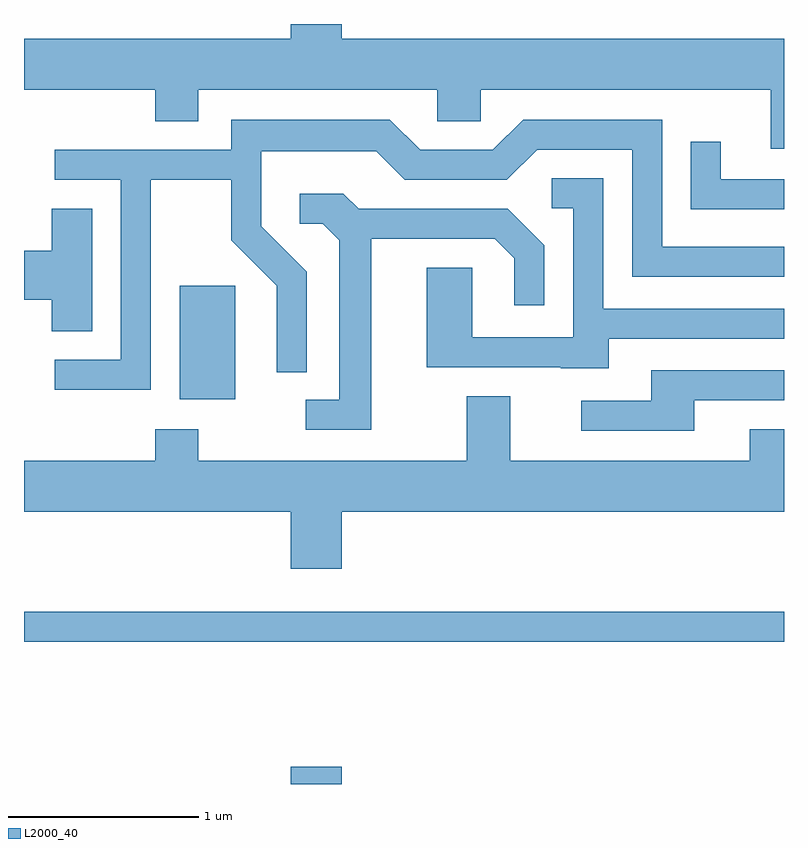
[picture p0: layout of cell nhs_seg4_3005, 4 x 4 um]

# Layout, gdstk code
import gdstk
lib = gdstk.Library(unit=1e-6, precision=1e-09)
def R(c, l, rs):  # rectangles x0, y0, x1, y1
    for r in rs: c.add(gdstk.rectangle(r[:2], r[2:], *l))
def P(c, l, *ps):  # polygons
    for p in ps: c.add(gdstk.Polygon(p, *l))
L2000_40 = (2000, 40)

nhs_seg4_3005 = lib.new_cell('nhs_seg4_3005')
R(nhs_seg4_3005, L2000_40, [(275.016,1279.982,275.284,1280.074), (273.611,1280.731,277.611,1280.889), (274.431,1282.006,274.724,1282.604)])
P(nhs_seg4_3005, L2000_40, [(277.611,1283.904),(275.284,1283.904),(275.284,1283.982),(275.016,1283.982),(275.016,1283.904),(273.611,1283.904),(273.611,1283.636),(274.301,1283.636),(274.301,1283.471),(274.529,1283.471),(274.529,1283.636),(275.786,1283.636),(275.786,1283.471),(276.014,1283.471),(276.014,1283.636),(277.541,1283.636),(277.541,1283.326),(277.611,1283.326)],
  [(274.279,1283.161),(274.701,1283.161),(274.701,1282.844),(274.941,1282.604),(274.941,1282.148),(275.099,1282.148),(275.099,1282.677),(274.859,1282.917),(274.859,1283.311),(275.464,1283.311),(275.614,1283.161),(276.152,1283.161),(276.312,1283.321),(276.811,1283.321),(276.811,1282.651),(277.611,1282.651),(277.611,1282.809),(276.969,1282.809),(276.969,1283.479),(276.239,1283.479),(276.079,1283.319),(275.697,1283.319),(275.537,1283.479),(274.701,1283.479),(274.701,1283.319),(273.773,1283.319),(273.773,1283.161),(274.121,1283.161),(274.121,1282.214),(273.773,1282.214),(273.773,1282.056),(274.279,1282.056)],
  [(277.611,1283.164),(277.279,1283.164),(277.279,1283.363),(277.121,1283.363),(277.121,1283.006),(277.611,1283.006)],
  [(276.689,1282.326),(277.611,1282.326),(277.611,1282.484),(276.659,1282.484),(276.659,1283.169),(276.388,1283.169),(276.388,1283.011),(276.501,1283.011),(276.501,1282.334),(275.969,1282.334),(275.969,1282.699),(275.731,1282.699),(275.731,1282.176),(276.435,1282.176),(276.435,1282.171),(276.689,1282.171)],
  [(275.439,1282.851),(276.089,1282.851),(276.191,1282.749),(276.191,1282.503),(276.349,1282.503),(276.349,1282.817),(276.157,1283.009),(275.372,1283.009),(275.292,1283.089),(275.063,1283.089),(275.063,1282.931),(275.184,1282.931),(275.271,1282.844),(275.271,1282.004),(275.093,1282.004),(275.093,1281.846),(275.439,1281.846)],
  [(273.969,1283.009),(273.756,1283.009),(273.756,1282.789),(273.611,1282.789),(273.611,1282.531),(273.756,1282.531),(273.756,1282.366),(273.969,1282.366)],
  [(277.139,1282.001),(277.611,1282.001),(277.611,1282.159),(276.911,1282.159),(276.911,1281.999),(276.543,1281.999),(276.543,1281.841),(277.139,1281.841)],
  [(277.611,1281.849),(277.431,1281.849),(277.431,1281.684),(276.169,1281.684),(276.169,1282.024),(275.941,1282.024),(275.941,1281.684),(274.529,1281.684),(274.529,1281.849),(274.301,1281.849),(274.301,1281.684),(273.611,1281.684),(273.611,1281.416),(275.016,1281.416),(275.016,1281.116),(275.284,1281.116),(275.284,1281.416),(277.611,1281.416)])

lib.write_gds('nhs_seg4_3005.gds')
